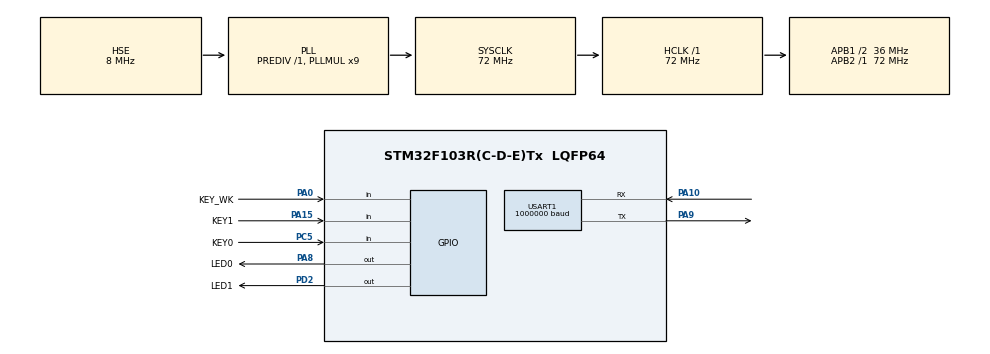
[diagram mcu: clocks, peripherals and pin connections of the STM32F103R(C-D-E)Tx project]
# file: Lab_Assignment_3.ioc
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Mcu.Family=STM32F1
Mcu.Name=STM32F103R(C-D-E)Tx
Mcu.Package=LQFP64
NVIC.PriorityGroup=NVIC_PRIORITYGROUP_2
NVIC.TIM3_IRQn=true\:1\:0\:true\:false\:true\:true\:true\:true
NVIC.USART1_IRQn=true\:1\:0\:true\:false\:true\:true\:true\:true
PA0-WKUP.GPIO_Label=KEY_WK
PA0-WKUP.GPIO_PuPd=GPIO_PULLDOWN
PA0-WKUP.Signal=GPIO_Input
PA10.Mode=Asynchronous
PA10.Signal=USART1_RX
PA13.Mode=Serial_Wire
PA13.Signal=SYS_JTMS-SWDIO
PA14.Mode=Serial_Wire
PA14.Signal=SYS_JTCK-SWCLK
PA15.GPIO_Label=KEY1
PA15.GPIO_PuPd=GPIO_PULLUP
PA15.Signal=GPIO_Input
PA8.GPIO_Label=LED0
PA8.GPIO_PuPd=GPIO_NOPULL
PA8.Signal=GPIO_Output
PA9.Mode=Asynchronous
PA9.Signal=USART1_TX
PC5.GPIO_Label=KEY0
PC5.GPIO_PuPd=GPIO_PULLUP
PC5.Signal=GPIO_Input
PD0-OSC_IN.Mode=HSE-External-Oscillator
PD0-OSC_IN.Signal=RCC_OSC_IN
PD1-OSC_OUT.Mode=HSE-External-Oscillator
PD1-OSC_OUT.Signal=RCC_OSC_OUT
PD2.GPIO_Label=LED1
PD2.GPIO_PuPd=GPIO_NOPULL
PD2.Signal=GPIO_Output
ProjectManager.HeapSize=0x200
ProjectManager.StackSize=0x400
ProjectManager.TargetToolchain=STM32CubeIDE
RCC.AHBFreq_Value=72000000
RCC.APB1CLKDivider=RCC_HCLK_DIV2
RCC.APB1Freq_Value=36000000
RCC.APB1TimFreq_Value=72000000
RCC.APB2Freq_Value=72000000
RCC.APB2TimFreq_Value=72000000
RCC.HCLKFreq_Value=72000000
RCC.PLLMUL=RCC_PLL_MUL9
RCC.PLLSourceVirtual=RCC_PLLSOURCE_HSE
RCC.SYSCLKFreq_VALUE=72000000
RCC.SYSCLKSource=RCC_SYSCLKSOURCE_PLLCLK
RCC.USBFreq_Value=72000000
TIM3.Period=9999
TIM3.Prescaler=7199
USART1.BaudRate=1000000
USART1.VirtualMode=VM_ASYNC
VP_TIM3_VS_ClockSourceINT.Mode=Internal
board=custom

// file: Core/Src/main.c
/* USER CODE BEGIN Header */
/**
  ******************************************************************************
  * @file           : main.c
  * @brief          : Main program body
  ******************************************************************************
  * @attention
  *
  * Copyright (c) 2024 STMicroelectronics.
  * All rights reserved.
  *
  * This software is licensed under terms that can be found in the LICENSE file
  * in the root directory of this software component.
  * If no LICENSE file comes with this software, it is provided AS-IS.
  *
  ******************************************************************************
  */
/* USER CODE END Header */
#include "main.h"
#include "tim.h"
#include "usart.h"
#include "gpio.h"

/* USER CODE BEGIN Includes */
#include "lcd_v4.h"
#include "images.h"
/* USER CODE END Includes */

/* USER CODE BEGIN PV */
extern TIM_HandleTypeDef htim3;
extern UART_HandleTypeDef huart1;
extern uint8_t img[IMG_SIZE];
extern uint8_t frame_ready;
extern uint8_t update_time;
extern uint8_t rxBuffer[20];
extern uint8_t video_status;

uint8_t img_copy[IMG_SIZE];
uint8_t capture_frame = 0;
uint16_t frame_index = -1;
uint16_t frame_total = 0;
uint8_t scale = 1;

uint8_t update_button = 0;
uint8_t sel_button = 0;

uint16_t sec_count = 0;

uint8_t update_playback_speed = 0;
uint8_t sel_playback_speed = 0;

const uint8_t signal[] = {0, 1, 2, 3, 4, 5, 6, 7, 8, 9};

/* USER CODE END PV */

void SystemClock_Config(void);

/* USER CODE BEGIN 0 */
void lcd_show_progress_bar() {
	lcd_fill(30, 175, 30 + 180 * ((double)(frame_index + 1) / frame_total), 180, BLACK);
}

void lcd_show_image(uint16_t x, uint16_t y, uint16_t width, uint16_t height, const uint8_t* image, uint8_t scale) {
	const uint8_t *pointer = image;
	uint16_t scaled_width = width * scale;
	uint16_t scaled_height = height * scale;
	uint16_t i, j;
	uint16_t xlen = 0;
	for (uint16_t yy = y; yy < y + scaled_height; yy += scale) {
		for (uint16_t xx = x; xx < x + scaled_width; xx += scale) {
//			lcd_fill(xx, yy, xx + scale - 1, yy + scale - 1, ((*(pointer + 1)) << 8) | (*pointer));
			xlen = scale;
			for (i = yy; i <= yy + scale - 1; i++)
			{
				// lcd_set_cursor(sx, i);
				lcd_wr_regno(lcddev.setxcmd);
				lcd_wr_data(xx >> 8);
				lcd_wr_data(xx & 0XFF);
				lcd_wr_regno(lcddev.setycmd);
				lcd_wr_data(i >> 8);
				lcd_wr_data(i & 0XFF);
				// lcd_write_ram_prepare();
				LCD_RS(0);
				LCD_CS(0);
				LCD_DATA_OUT(lcddev.wramcmd);
				LCD_WR(0);
				LCD_WR(1);
				LCD_CS(1);
				for (j = 0; j < xlen; j++)
				{
					lcd_wr_data(((*(pointer + 1)) << 8) | (*pointer));     /* д       */
				}
			}
			pointer += 2;
		}
	}
}

void lcd_show_video_frame(uint8_t scale) {
	uint16_t sx = 120 - (WIDTH * scale) / 2;
	uint16_t sy = 100 - (HEIGHT * scale) / 2;
	lcd_show_image(sx, sy, WIDTH, HEIGHT, img, scale);
}

void lcd_show_time() {
	uint16_t x = 40, y = 200;
	lcd_show_char(x + 16, y, ':', 16, 0, BLACK);
	lcd_show_num(x, y, sec_count / 60, 2, 16, BLACK);
	if (sec_count / 60 < 10) {
	  lcd_show_num(x, y, 0, 1, 16, BLACK);
	}
	lcd_show_num(x + 24, y, sec_count % 60, 2, 16, BLACK);
	if (sec_count % 60 < 10) {
	  lcd_show_num(x + 24, y, 0, 1, 16, BLACK);
	}
}

void lcd_show_button() {
	if (sel_button == 0) {
		lcd_show_image(102, 190, 36, 36, pause, 1);
	} else {
		lcd_show_image(102, 190, 36, 36, play, 1);
	}
}

void lcd_show_playback_speed() {
	uint16_t x = 120 + (WIDTH * 3) / 2 - 17, y = 200;
	if (sel_playback_speed == 0) { // x1
		lcd_fill(x - 24, y, x, y + 16, WHITE);
		lcd_show_char(x - 8, y, 'x', 16, 0, BLACK);
		lcd_show_num(x, y, 1, 1, 16, BLACK);
	} else if (sel_playback_speed == 1) { // x2
		lcd_show_char(x - 8, y, 'x', 16, 0, RED);
		lcd_show_num(x, y, 2, 1, 16, RED);
	} else { // x0.5
		lcd_show_char(x - 24, y, 'x', 16, 0, BLUE);
		lcd_show_num(x - 16, y, 0, 1, 16, BLUE);
		lcd_show_char(x - 8, y, '.', 16, 0, BLUE);
		lcd_show_num(x, y, 5, 1, 16, BLUE);
	}
}

uint8_t key_scan() {
	static uint8_t key_up = 1;
	static uint8_t double_pressed = 0;
	uint8_t key_val = 0;

	if (key_up && (KEY0_PRESSED || KEY1_PRESSED || KEY_WK_PRESSED)) {
		HAL_Delay(10);
		if (KEY_WK_PRESSED) {
			key_val = KEY_WK_VAL;
		} else if (KEY0_PRESSED) {
			key_val = KEY0_VAL;
		} else if (KEY1_PRESSED) {
			key_val = KEY1_VAL;
		}
		key_up = 0;
		double_pressed = 0;
	} else if (!KEY0_PRESSED && !KEY1_PRESSED && !KEY_WK_PRESSED) {
		key_up = 1;
		double_pressed = 0;
	} else if (!double_pressed) {
		HAL_Delay(10);
		if (KEY0_PRESSED && KEY_WK_PRESSED) {
			key_val = KEY_WK_0_VAL;
			double_pressed = 1;
		} else if (KEY1_PRESSED && KEY_WK_PRESSED) {
			key_val = KEY_WK_1_VAL;
			double_pressed = 1;
		} else {
			double_pressed = 0;
		}
	}

	return key_val;
}
/* USER CODE END 0 */

int main(void)
{

  /* MCU Configuration--------------------------------------------------------*/

  /* Reset of all peripherals, Initializes the Flash interface and the Systick. */
  HAL_Init();

  /* Configure the system clock */
  SystemClock_Config();

  /* USER CODE BEGIN SysInit */
  lcd_init();
  lcd_clear(WHITE);
  /* USER CODE END SysInit */

  /* Initialize all configured peripherals */
  MX_GPIO_Init();
  MX_USART1_UART_Init();
  MX_TIM3_Init();
  /* USER CODE BEGIN 2 */
  HAL_TIM_Base_Start_IT(&htim3);
  HAL_UART_Receive_IT(&huart1, (uint8_t *)rxBuffer, 1);

  lcd_show_image(0, 0, 240, 320, bg, 1);
  lcd_fill(120 - (WIDTH * 3) / 2 - 5, 100 - (HEIGHT * 3) / 2 - 5, 120 + (WIDTH * 3) / 2 - 1 + 5, 233, WHITE);
  lcd_fill(30, 175, 210, 180, 0xbdf7);
  lcd_show_time();
  lcd_show_button();
  lcd_show_playback_speed();
  lcd_fill(120 - (WIDTH * 3) / 2, 100 - (HEIGHT * 3) / 2, 120 + (WIDTH * 3) / 2 - 1, 100 + (HEIGHT * 3) / 2, BLACK);
  lcd_draw_rectangle(120 - (WIDTH * 3) / 2 - 6, 100 - (HEIGHT * 3) / 2 - 6, 120 + (WIDTH * 3) / 2 - 1 + 6, 234, BLACK);
  lcd_draw_rectangle(120 - (WIDTH * 3) / 2 - 7, 100 - (HEIGHT * 3) / 2 - 7, 120 + (WIDTH * 3) / 2 - 1 + 7, 235, BLACK);
  /* USER CODE END 2 */

  /* Infinite loop */
  /* USER CODE BEGIN WHILE */
  while (1)
  {
	  if (frame_ready) {
		  lcd_show_video_frame(scale);
		  lcd_show_progress_bar();
		  if (capture_frame) {
			  uint8_t* src = &img[0];
			  uint8_t* dst = &img_copy[0];
			  for (uint16_t i = 0; i < IMG_SIZE; i++) {
				  *(dst++) = *(src++);
			  }
			  lcd_show_image(30, 260, WIDTH, HEIGHT, img_copy, 1);
			  lcd_draw_rectangle(30 - 1, 260 - 1, 30 + WIDTH, 260 + HEIGHT + 1, BLACK);
			  lcd_draw_rectangle(30 - 2, 260 - 2, 30 + WIDTH + 1, 260 + HEIGHT + 2, BLACK);
			  capture_frame = 0;
		  }
		  frame_ready = 0;
	  }
	  if (update_time) {
		  if (video_status == VIDEO_PLAYING) {
			  lcd_show_time();
			  update_time = 0;
		  }
//		  lcd_show_num(20, 250, frame_count, 5, 24, BLACK);
//		  lcd_show_num(150, 250, frame_total, 5, 24, BLUE);
	  }
	  if (update_button) {
		  lcd_show_button();
		  update_button = 0;
	  }
	  if (update_playback_speed) {
		  lcd_show_playback_speed();
		  update_playback_speed = 0;
	  }

	  volatile uint8_t key_val = key_scan();
	  switch (key_val) {
		  case KEY_WK_VAL:
			  capture_frame = 1;
			  break;
		  case KEY0_VAL:
			  if (scale == 3) {
				  lcd_fill(120 - (WIDTH * 3) / 2, 100 - (HEIGHT * 3) / 2, 120 + (WIDTH * 3) / 2 - 1, 100 + (HEIGHT * 3) / 2, BLACK);
				  scale = 1;
			  } else {
				  scale++;
			  }
			  lcd_show_video_frame(scale);
			  break;
		  case KEY1_VAL:
			  HAL_UART_Transmit(&huart1, &signal[1], 1, 0xffff);
			  HAL_UART_DeInit(&huart1);
			  lcd_clear(WHITE);
			  lcd_show_image(0, 0, 240, 320, bg, 1);
			  video_status = VIDEO_NOT_STARTED;
			  frame_ready = 0;
			  break;
		  case KEY_WK_0_VAL:
			  if (video_status != VIDEO_NOT_STARTED) {
				  update_button = 1;
				  sel_button = 1 - sel_button;
				  if (video_status == VIDEO_PLAYING) {
					  video_status = VIDEO_PAUSED;
				  } else if (video_status == VIDEO_PAUSED) {
					  video_status = VIDEO_PLAYING;
				  }
				  HAL_UART_Transmit(&huart1, &signal[0], 1, 0xffff);
			  }
			  break;
		  case KEY_WK_1_VAL:
			  update_playback_speed = 1;
			  sel_playback_speed = sel_playback_speed == 2 ? 0 : sel_playback_speed + 1;
			  HAL_UART_Transmit(&huart1, &signal[2], 1, 0xffff);
			  break;
		  default:
			  break;
	  }
    /* USER CODE END WHILE */

  }
}

void SystemClock_Config(void)
{
  RCC_OscInitTypeDef RCC_OscInitStruct = {0};
  RCC_ClkInitTypeDef RCC_ClkInitStruct = {0};

  /** Initializes the RCC Oscillators according to the specified parameters
  * in the RCC_OscInitTypeDef structure.
  */
  RCC_OscInitStruct.OscillatorType = RCC_OSCILLATORTYPE_HSE;
  RCC_OscInitStruct.HSEState = RCC_HSE_ON;
  RCC_OscInitStruct.HSEPredivValue = RCC_HSE_PREDIV_DIV1;
  RCC_OscInitStruct.HSIState = RCC_HSI_ON;
  RCC_OscInitStruct.PLL.PLLState = RCC_PLL_ON;
  RCC_OscInitStruct.PLL.PLLSource = RCC_PLLSOURCE_HSE;
  RCC_OscInitStruct.PLL.PLLMUL = RCC_PLL_MUL9;
  if (HAL_RCC_OscConfig(&RCC_OscInitStruct) != HAL_OK)
  {
    Error_Handler();
  }

  /** Initializes the CPU, AHB and APB buses clocks
  */
  RCC_ClkInitStruct.ClockType = RCC_CLOCKTYPE_HCLK|RCC_CLOCKTYPE_SYSCLK
                              |RCC_CLOCKTYPE_PCLK1|RCC_CLOCKTYPE_PCLK2;
  RCC_ClkInitStruct.SYSCLKSource = RCC_SYSCLKSOURCE_PLLCLK;
  RCC_ClkInitStruct.AHBCLKDivider = RCC_SYSCLK_DIV1;
  RCC_ClkInitStruct.APB1CLKDivider = RCC_HCLK_DIV2;
  RCC_ClkInitStruct.APB2CLKDivider = RCC_HCLK_DIV1;

  if (HAL_RCC_ClockConfig(&RCC_ClkInitStruct, FLASH_LATENCY_2) != HAL_OK)
  {
    Error_Handler();
  }
}

void Error_Handler(void)
{
  __disable_irq();
  while (1)
  {
  }
}
